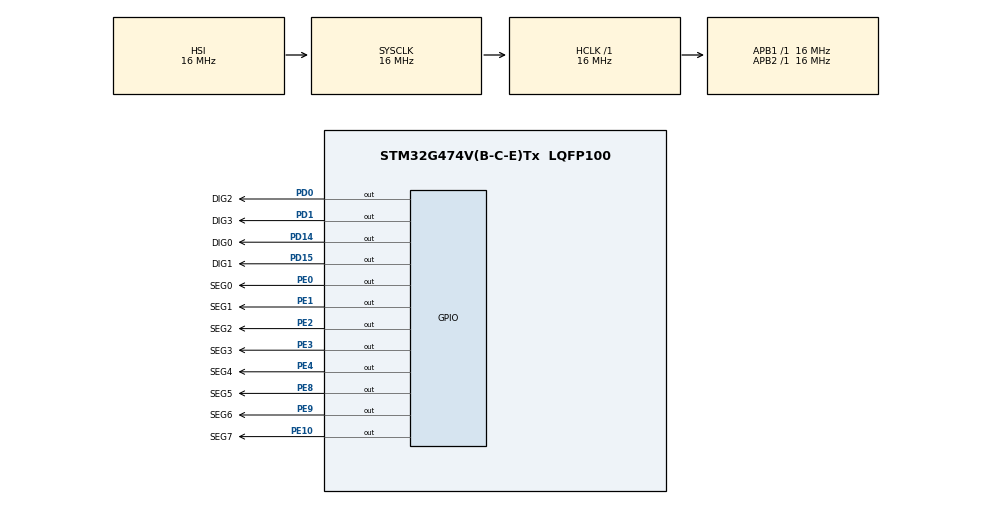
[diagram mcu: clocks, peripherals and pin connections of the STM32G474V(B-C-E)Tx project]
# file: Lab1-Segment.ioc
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Mcu.Family=STM32G4
Mcu.Name=STM32G474V(B-C-E)Tx
Mcu.Package=LQFP100
NVIC.PriorityGroup=NVIC_PRIORITYGROUP_4
PA13.Mode=Serial_Wire
PA13.Signal=SYS_JTMS-SWDIO
PA14.Mode=Serial_Wire
PA14.Signal=SYS_JTCK-SWCLK
PD0.GPIO_Label=DIG2
PD0.Signal=GPIO_Output
PD1.GPIO_Label=DIG3
PD1.Signal=GPIO_Output
PD14.GPIO_Label=DIG0
PD14.Signal=GPIO_Output
PD15.GPIO_Label=DIG1
PD15.Signal=GPIO_Output
PE0.GPIO_Label=SEG0
PE0.Signal=GPIO_Output
PE1.GPIO_Label=SEG1
PE1.Signal=GPIO_Output
PE10.GPIO_Label=SEG7
PE10.Signal=GPIO_Output
PE2.GPIO_Label=SEG2
PE2.Signal=GPIO_Output
PE3.GPIO_Label=SEG3
PE3.Signal=GPIO_Output
PE4.GPIO_Label=SEG4
PE4.Signal=GPIO_Output
PE8.GPIO_Label=SEG5
PE8.Signal=GPIO_Output
PE9.GPIO_Label=SEG6
PE9.Signal=GPIO_Output
ProjectManager.HeapSize=0x200
ProjectManager.StackSize=0x400
ProjectManager.TargetToolchain=Makefile
RCC.AHBFreq_Value=16000000
RCC.APB1Freq_Value=16000000
RCC.APB1TimFreq_Value=16000000
RCC.APB2Freq_Value=16000000
RCC.APB2TimFreq_Value=16000000
RCC.CortexFreq_Value=16000000
RCC.EXTERNAL_CLOCK_VALUE=12288000
RCC.HCLKFreq_Value=16000000
RCC.HSE_VALUE=8000000
RCC.HSI48_VALUE=48000000
RCC.HSI_VALUE=16000000
RCC.LSE_VALUE=32768
RCC.SYSCLKFreq_VALUE=16000000
RCC.USBFreq_Value=64000000
RCC.VCOOutputFreq_Value=128000000
VP_SYS_VS_DBSignals.Mode=DisableDeadBatterySignals
board=custom

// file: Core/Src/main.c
/* USER CODE BEGIN Header */
/**
  ******************************************************************************
  * @file           : main.c
  * @brief          : Main program body
  ******************************************************************************
  * @attention
  *
  * Copyright (c) 2025 STMicroelectronics.
  * All rights reserved.
  *
  * This software is licensed under terms that can be found in the LICENSE file
  * in the root directory of this software component.
  * If no LICENSE file comes with this software, it is provided AS-IS.
  *
  ******************************************************************************
  */
/* USER CODE END Header */
#include "main.h"

void SystemClock_Config(void);
static void MX_GPIO_Init(void);

int main(void) {

    /* MCU Configuration--------------------------------------------------------*/

    /* Reset of all peripherals, Initializes the Flash interface and the Systick. */
    HAL_Init();

    /* Configure the system clock */
    SystemClock_Config();

    /* Initialize all configured peripherals */
    MX_GPIO_Init();
    /* USER CODE BEGIN 2 */
    uint32_t digit = 0;
    const int32_t DIGITS[] = {
        0x3F, 0x06, 0x5B, 0x4F,
        0x66, 0x6D, 0x7D, 0x07,
        0x7F, 0x6F, 0x77, 0x7C,
        0x39, 0x5E, 0x79, 0x71
    };
    const uint32_t SEGS_PIN[] = {
        SEG0_Pin, SEG1_Pin, SEG2_Pin, SEG3_Pin,
        SEG4_Pin, SEG5_Pin, SEG6_Pin, SEG7_Pin
    };
    const GPIO_TypeDef *SEGS_PIN_PORT[] = {
        SEG0_GPIO_Port, SEG1_GPIO_Port, SEG2_GPIO_Port, SEG3_GPIO_Port,
        SEG4_GPIO_Port, SEG5_GPIO_Port, SEG6_GPIO_Port, SEG7_GPIO_Port
    };
    const uint32_t DIG_PIN[] = {
        DIG0_Pin, DIG1_Pin, DIG2_Pin, DIG3_Pin
    };
    const GPIO_TypeDef *DIG_PIN_PORT[] = {
        DIG0_GPIO_Port, DIG1_GPIO_Port, DIG2_GPIO_Port, DIG3_GPIO_Port
    };

    // Dim all digital tubes
    for (uint32_t i = 0; i < 4; ++i) {
        HAL_GPIO_WritePin((GPIO_TypeDef *) DIG_PIN_PORT[i], DIG_PIN[i], GPIO_PIN_RESET);
    }

    /* USER CODE END 2 */

    /* Infinite loop */
    /* USER CODE BEGIN WHILE */
    while (1) {
        for (uint32_t i = 0; i < 4; ++i) {
            GPIO_PinState pin_status = (i == digit) ? GPIO_PIN_SET : GPIO_PIN_RESET;
            HAL_GPIO_WritePin((GPIO_TypeDef *) DIG_PIN_PORT[i], DIG_PIN[i], pin_status);
        }

        for (uint32_t i = 0; i < 8; ++i) {
            HAL_GPIO_WritePin((GPIO_TypeDef *) SEGS_PIN_PORT[i], SEGS_PIN[i], DIGITS[digit] & (1 << i));
        }
        digit = (digit + 1) % 4;
        HAL_Delay(1);
        /* USER CODE END WHILE */

    }
}

void SystemClock_Config(void) {
    RCC_OscInitTypeDef RCC_OscInitStruct = {0};
    RCC_ClkInitTypeDef RCC_ClkInitStruct = {0};

    /** Configure the main internal regulator output voltage
    */
    HAL_PWREx_ControlVoltageScaling(PWR_REGULATOR_VOLTAGE_SCALE1);

    /** Initializes the RCC Oscillators according to the specified parameters
    * in the RCC_OscInitTypeDef structure.
    */
    RCC_OscInitStruct.OscillatorType = RCC_OSCILLATORTYPE_HSI;
    RCC_OscInitStruct.HSIState = RCC_HSI_ON;
    RCC_OscInitStruct.HSICalibrationValue = RCC_HSICALIBRATION_DEFAULT;
    RCC_OscInitStruct.PLL.PLLState = RCC_PLL_NONE;
    if (HAL_RCC_OscConfig(&RCC_OscInitStruct) != HAL_OK) {
        Error_Handler();
    }

    /** Initializes the CPU, AHB and APB buses clocks
    */
    RCC_ClkInitStruct.ClockType = RCC_CLOCKTYPE_HCLK | RCC_CLOCKTYPE_SYSCLK
        | RCC_CLOCKTYPE_PCLK1 | RCC_CLOCKTYPE_PCLK2;
    RCC_ClkInitStruct.SYSCLKSource = RCC_SYSCLKSOURCE_HSI;
    RCC_ClkInitStruct.AHBCLKDivider = RCC_SYSCLK_DIV1;
    RCC_ClkInitStruct.APB1CLKDivider = RCC_HCLK_DIV1;
    RCC_ClkInitStruct.APB2CLKDivider = RCC_HCLK_DIV1;

    if (HAL_RCC_ClockConfig(&RCC_ClkInitStruct, FLASH_LATENCY_0) != HAL_OK) {
        Error_Handler();
    }
}

static void MX_GPIO_Init(void) {
    GPIO_InitTypeDef GPIO_InitStruct = {0};

    /* GPIO Ports Clock Enable */
    __HAL_RCC_GPIOE_CLK_ENABLE();
    __HAL_RCC_GPIOD_CLK_ENABLE();
    __HAL_RCC_GPIOA_CLK_ENABLE();

    /*Configure GPIO pin Output Level */
    HAL_GPIO_WritePin(GPIOE, SEG2_Pin | SEG3_Pin | SEG4_Pin | SEG5_Pin
                      | SEG6_Pin | SEG7_Pin | SEG0_Pin | SEG1_Pin, GPIO_PIN_RESET);

    /*Configure GPIO pin Output Level */
    HAL_GPIO_WritePin(GPIOD, DIG0_Pin | DIG1_Pin | DIG2_Pin | DIG3_Pin, GPIO_PIN_RESET);

    /*Configure GPIO pins : SEG2_Pin SEG3_Pin SEG4_Pin SEG5_Pin
                             SEG6_Pin SEG7_Pin SEG0_Pin SEG1_Pin */
    GPIO_InitStruct.Pin = SEG2_Pin | SEG3_Pin | SEG4_Pin | SEG5_Pin
        | SEG6_Pin | SEG7_Pin | SEG0_Pin | SEG1_Pin;
    GPIO_InitStruct.Mode = GPIO_MODE_OUTPUT_PP;
    GPIO_InitStruct.Pull = GPIO_NOPULL;
    GPIO_InitStruct.Speed = GPIO_SPEED_FREQ_LOW;
    HAL_GPIO_Init(GPIOE, &GPIO_InitStruct);

    /*Configure GPIO pins : DIG0_Pin DIG1_Pin DIG2_Pin DIG3_Pin */
    GPIO_InitStruct.Pin = DIG0_Pin | DIG1_Pin | DIG2_Pin | DIG3_Pin;
    GPIO_InitStruct.Mode = GPIO_MODE_OUTPUT_PP;
    GPIO_InitStruct.Pull = GPIO_NOPULL;
    GPIO_InitStruct.Speed = GPIO_SPEED_FREQ_LOW;
    HAL_GPIO_Init(GPIOD, &GPIO_InitStruct);

}

void Error_Handler(void) {
    __disable_irq();
    while (1) {}
}
